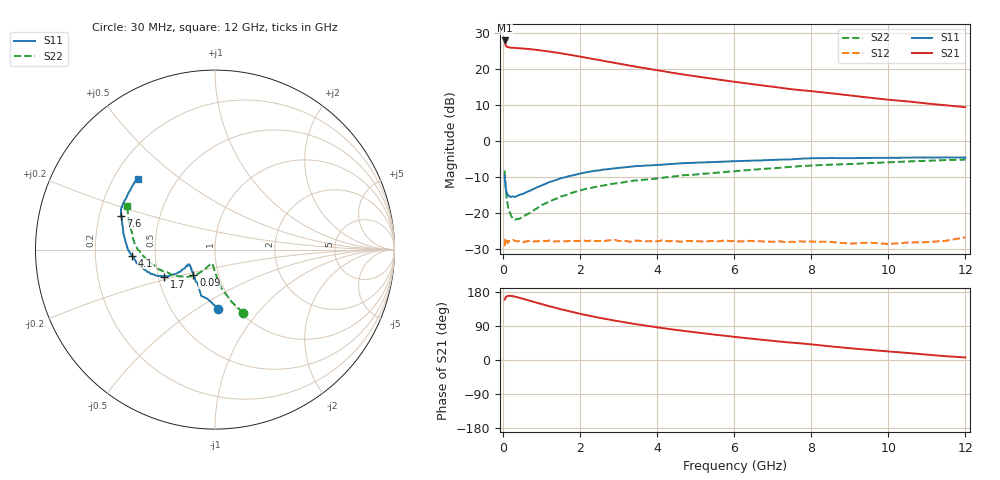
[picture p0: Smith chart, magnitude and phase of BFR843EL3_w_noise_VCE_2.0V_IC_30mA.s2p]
! Infineon Technologies  Discrete & RF Semiconductors
! BFR843EL3
! VCE =  2.0 V,  IC =  30 mA
! Common Emitter S-Parameters:  Aug 2013
# GHz  S  MA  R  50
!  f  S11  S21  S12  S22
! GHz  MAG  ANG  MAG  ANG  MAG  ANG  MAG  ANG
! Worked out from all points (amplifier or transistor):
!   103 points, 30 MHz to 12 GHz, reference 50 ohm
!   highest |S21| = 27.9 dB at 30 MHz (marker M1)
!   |S21| within 3 dB of that: start of sweep to 1.133 GHz
!   unconditionally stable (mu >= 1): 288.4 MHz to 600.9 MHz; 3.151 GHz to end of sweep
!   at 400 MHz: K = 1.00, MAG = 26.5 dB, |S12| = -27.9 dB
!   at 3.7 GHz: K = 1.04, MAG = 22.8 dB, |S12| = -27.9 dB
!   at 12 GHz: K = 1.94, MAG = 12.5 dB, |S12| = -26.9 dB
!   lowest NFmin = 1.34 dB at 900 MHz
!   S11 on the Smith chart (normalised r, x): 30 MHz: 0.83, -0.61; 90 MHz: 0.76, -0.23; 1.7 GHz: 0.54, -0.18; 4.1 GHz: 0.37, -0.03; 7.6 GHz: 0.29, +0.16; 12 GHz: 0.30, +0.36
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0.03  0.3299 -86.9  24.69 159.5  0.0342 28.4  0.3839 -66.0
0.04  0.2771 -98.9  22.87 161.5  0.0378 18.6  0.3042 -72.5
0.06  0.2119 -117.2  21.06 165.2  0.0433 12.2  0.2135 -81.2
0.09  0.1871 -129.9  20.24 168.0  0.0399 9.7  0.1523 -86.4
0.14  0.1708 -141.4  19.8 169.4  0.0393 6.4  0.1089 -93.0
0.2  0.1658 -146.4  19.59 169.1  0.0402 4.5  0.0904 -96.4
0.35  0.17 -151.4  19.34 166.0  0.0399 4.6  0.0818 -105.3
0.6  0.1932 -148.8  18.91 158.8  0.0399 1.4  0.0938 -109.5
1  0.2397 -148.1  17.88 147.3  0.0409 2.9  0.1278 -117.6
1.4  0.2878 -149.9  16.67 136.5  0.0401 3.7  0.1583 -124.0
1.7  0.3207 -152.1  15.69 128.9  0.0402 3.0  0.1819 -128.5
2.1  0.3594 -156.2  14.37 119.5  0.0408 3.4  0.2115 -134.5
2.6  0.3976 -161.8  12.85 109.4  0.0402 5.1  0.2382 -141.1
3  0.4193 -166.0  11.74 102.1  0.0403 5.5  0.2586 -145.5
3.5  0.4445 -170.9  10.54 93.7  0.0408 5.3  0.2818 -150.9
4.1  0.4632 -175.9  9.332 84.7  0.041 7.0  0.3027 -155.6
5.1  0.4971 176.0  7.696 71.6  0.0398 8.9  0.342 -164.3
6.1  0.5202 169.2  6.474 60.0  0.0398 10.3  0.3805 -171.2
7.6  0.5563 160.1  5.106 44.9  0.0389 14.3  0.4379 178.2
8.5  0.5731 153.0  4.56 35.9  0.0392 13.7  0.4644 171.3
10.5  0.5811 142.6  3.514 18.6  0.0384 25.5  0.5142 159.9
12  0.5817 137.4  2.923 6.8  0.0454 37.4  0.5458 153.5
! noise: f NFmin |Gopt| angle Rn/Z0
0.45  1.35  0.17  172  0.13
0.9  1.34  0.17  168  0.12
1.5  1.34  0.19  166  0.11
1.9  1.34  0.19  168  0.1
2.4  1.34  0.2  171  0.11
3.5  1.35  0.22  176  0.11
5.5  1.36  0.29  190  0.1
8  1.38  0.39  206  0.09
10  1.4  0.49  225  0.1
